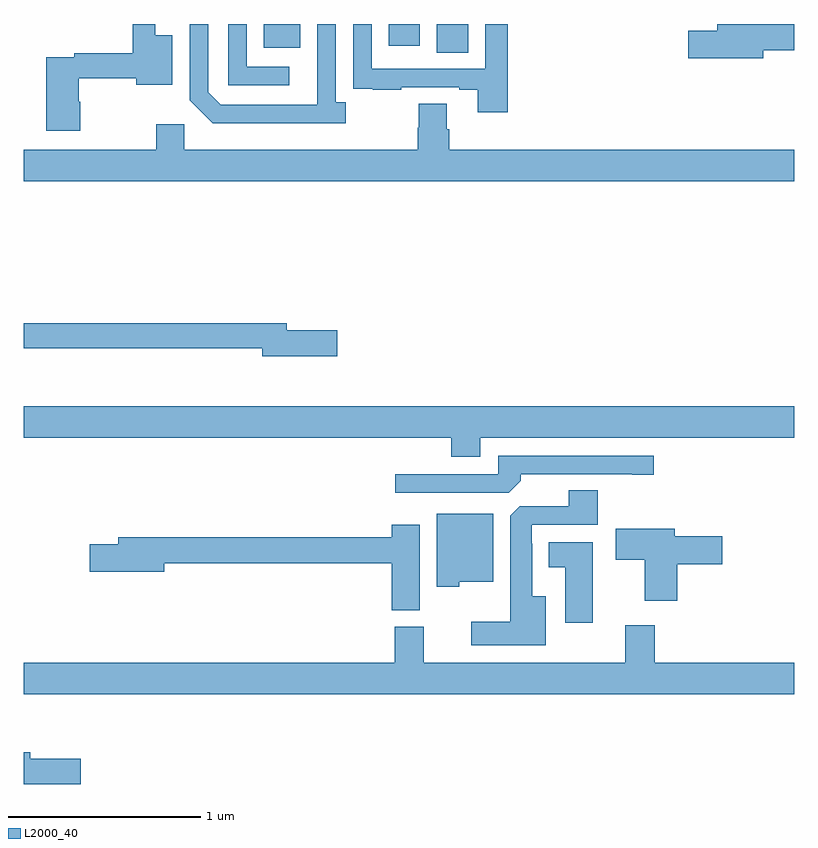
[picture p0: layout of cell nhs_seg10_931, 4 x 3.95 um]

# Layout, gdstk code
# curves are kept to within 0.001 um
import gdstk
lib = gdstk.Library(unit=1e-6, precision=1e-09)
def R(c, l, rs):  # rectangles x0, y0, x1, y1
    for r in rs: c.add(gdstk.rectangle(r[:2], r[2:], *l))
def P(c, l, *ps):  # polygons
    for p in ps: c.add(gdstk.Polygon(p, *l))
L2000_40 = (2000, 40)

nhs_seg10_931 = lib.new_cell('nhs_seg10_931')
R(nhs_seg10_931, L2000_40, [(161.144,1266.352,161.308,1266.5), (160.247,1266.377,160.435,1266.5), (160.895,1266.387,161.056,1266.5)])
P(nhs_seg10_931, L2000_40, [(160.672,1266.094),(160.62,1266.094),(160.62,1266.5),(160.524,1266.5),(160.523,1266.081),(160.023,1266.081),(159.957,1266.147),(159.957,1266.5),(159.861,1266.5),(159.861,1266.105),(159.982,1265.984),(160.672,1265.984)],
  [(161.513,1266.5),(161.397,1266.5),(161.397,1266.267),(160.806,1266.267),(160.806,1266.5),(160.71,1266.5),(160.71,1266.274),(160.711,1266.274),(160.711,1266.165),(160.813,1266.165),(160.813,1266.159),(160.961,1266.159),(160.961,1266.171),(161.261,1266.171),(161.261,1266.159),(161.357,1266.159),(161.357,1266.042),(161.513,1266.042)],
  [(162.838,1266.364),(163,1266.364),(163,1266.5),(162.599,1266.5),(162.599,1266.464),(162.45,1266.464),(162.45,1266.322),(162.838,1266.322)],
  [(160.378,1266.279),(160.158,1266.279),(160.158,1266.5),(160.062,1266.5),(160.062,1266.183),(160.378,1266.183)],
  [(159.294,1266.096),(159.286,1266.096),(159.286,1266.219),(159.584,1266.219),(159.584,1266.185),(159.772,1266.185),(159.772,1266.442),(159.683,1266.442),(159.683,1266.5),(159.565,1266.5),(159.565,1266.347),(159.262,1266.347),(159.262,1266.327),(159.116,1266.327),(159.116,1265.946),(159.294,1265.946)],
  [(163,1265.848),(161.21,1265.848),(161.21,1265.954),(161.197,1265.954),(161.197,1266.086),(161.05,1266.086),(161.05,1265.961),(161.045,1265.961),(161.045,1265.848),(159.834,1265.848),(159.834,1265.98),(159.688,1265.98),(159.688,1265.848),(159,1265.848),(159,1265.684),(163,1265.684)],
  [(160.627,1264.91),(160.366,1264.91),(160.366,1264.946),(159,1264.946),(159,1264.818),(160.238,1264.818),(160.238,1264.775),(160.627,1264.775)],
  [(161.371,1264.352),(163,1264.352),(163,1264.516),(159,1264.516),(159,1264.352),(161.219,1264.352),(161.219,1264.253),(161.371,1264.253)],
  [(161.579,1264.13),(161.579,1264.164),(162.158,1264.164),(162.158,1264.159),(162.271,1264.159),(162.271,1264.26),(161.463,1264.26),(161.463,1264.164),(160.929,1264.164),(160.929,1264.068),(161.517,1264.068)],
  [(161.71,1263.529),(161.641,1263.529),(161.641,1263.803),(161.637,1263.803),(161.637,1263.9),(161.981,1263.9),(161.981,1264.079),(161.828,1264.079),(161.828,1263.996),(161.574,1263.996),(161.525,1263.947),(161.525,1263.397),(161.322,1263.397),(161.322,1263.275),(161.71,1263.275)],
  [(161.262,1263.605),(161.437,1263.605),(161.437,1263.958),(161.144,1263.958),(161.144,1263.578),(161.262,1263.578)],
  [(161.056,1263.901),(160.91,1263.901),(160.91,1263.836),(159.491,1263.836),(159.491,1263.8),(159.342,1263.8),(159.342,1263.658),(159.73,1263.658),(159.73,1263.7),(160.91,1263.7),(160.91,1263.457),(161.056,1263.457)],
  [(162.392,1263.695),(162.625,1263.695),(162.625,1263.842),(162.379,1263.842),(162.379,1263.88),(162.072,1263.88),(162.072,1263.718),(162.224,1263.718),(162.224,1263.507),(162.392,1263.507)],
  [(161.953,1263.811),(161.726,1263.811),(161.726,1263.68),(161.81,1263.68),(161.81,1263.393),(161.953,1263.393)],
  [(163,1263.184),(162.275,1263.184),(162.275,1263.379),(162.122,1263.379),(162.122,1263.184),(161.077,1263.184),(161.077,1263.372),(160.925,1263.372),(160.925,1263.184),(159,1263.184),(159,1263.02),(163,1263.02)],
  [(159.295,1262.685),(159.034,1262.685),(159.034,1262.719),(159,1262.719),(159,1262.555),(159.295,1262.555)])

lib.write_gds('nhs_seg10_931.gds')
